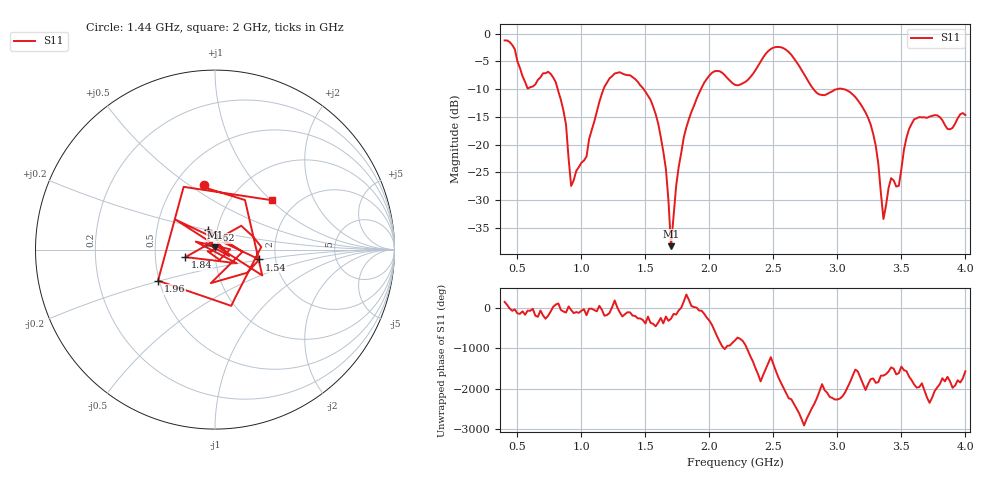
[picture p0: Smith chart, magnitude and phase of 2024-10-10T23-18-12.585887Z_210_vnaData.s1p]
! Created with skrf (http://scikit-rf.org).
# Hz S RI R 50.0
!freq ReS11 ImS11
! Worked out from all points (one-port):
!   181 points, 400 MHz to 4 GHz, reference 50 ohm
!   lowest |S11| = -38.3 dB at 1.7 GHz (marker M1), VSWR 1.02, Z = 50 + j1.21 ohm
!   |S11| at or under -10 dB: 814.7 MHz to 1.173 GHz (358.8 MHz wide, 36.1 % of centre); 1.486 GHz to 1.934 GHz (448.9 MHz wide, 26.3 % of centre); 3.042 GHz to end of sweep (the widest 3 of 4)
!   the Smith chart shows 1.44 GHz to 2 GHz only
!   S11 on the Smith chart (normalised r, x): 1.44 GHz: 0.69, +0.58; 1.54 GHz: 1.64, -0.19; 1.62 GHz: 0.90, +0.20; 1.84 GHz: 0.72, -0.06; 1.96 GHz: 0.49, -0.20; 2 GHz: 1.52, +1.01
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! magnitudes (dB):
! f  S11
! 400 MHz  -1.2
! 580 MHz  -9.9
! 760 MHz  -7.3
! 860 MHz  -13.9
! 920 MHz  -27.5
! 1.04 GHz  -22.2
! 1.18 GHz  -9.6
! 1.3 GHz  -7.0
! 1.44 GHz  -8.7
! 1.54 GHz  -11.9
! 1.62 GHz  -18.6
! 1.66 GHz  -24.4
! 1.7 GHz  -38.3
! 1.76 GHz  -24.1
! 1.84 GHz  -15.4
! 1.96 GHz  -8.8
! 2 GHz  -7.6
! 2.2 GHz  -9.2
! 2.5 GHz  -2.5
! 2.66 GHz  -4.5
! 2.84 GHz  -10.7
! 3.1 GHz  -10.6
! 3.28 GHz  -18.1
! 3.36 GHz  -33.4
! 3.42 GHz  -26.1
! 3.48 GHz  -27.4
! 3.56 GHz  -17.2
! 4 GHz  -14.7
